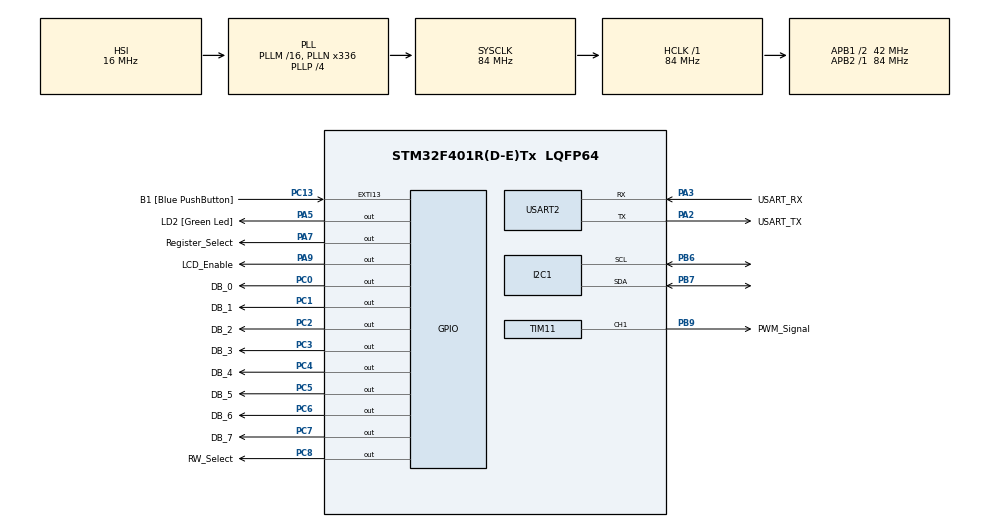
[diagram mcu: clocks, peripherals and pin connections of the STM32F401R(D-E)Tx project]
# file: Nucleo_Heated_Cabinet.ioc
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Mcu.Family=STM32F4
Mcu.Name=STM32F401R(D-E)Tx
Mcu.Package=LQFP64
NVIC.PriorityGroup=NVIC_PRIORITYGROUP_4
NVIC.TIM1_BRK_TIM9_IRQn=true\:1\:0\:true\:false\:true\:true\:true\:true
PA13.GPIO_Label=TMS
PA13.Mode=Trace_Asynchronous_SW
PA13.Signal=SYS_JTMS-SWDIO
PA14.GPIO_Label=TCK
PA14.Mode=Trace_Asynchronous_SW
PA14.Signal=SYS_JTCK-SWCLK
PA2.GPIO_Label=USART_TX
PA2.GPIO_Mode=GPIO_MODE_AF_PP
PA2.GPIO_PuPd=GPIO_NOPULL
PA2.GPIO_Speed=GPIO_SPEED_FREQ_LOW
PA2.Mode=Asynchronous
PA2.Signal=USART2_TX
PA3.GPIO_Label=USART_RX
PA3.GPIO_Mode=GPIO_MODE_AF_PP
PA3.GPIO_PuPd=GPIO_NOPULL
PA3.GPIO_Speed=GPIO_SPEED_FREQ_LOW
PA3.Mode=Asynchronous
PA3.Signal=USART2_RX
PA5.GPIO_Label=LD2 [Green Led]
PA5.GPIO_Mode=GPIO_MODE_OUTPUT_PP
PA5.GPIO_PuPd=GPIO_NOPULL
PA5.GPIO_Speed=GPIO_SPEED_FREQ_LOW
PA5.Signal=GPIO_Output
PA7.GPIO_Label=Register_Select
PA7.Signal=GPIO_Output
PA9.GPIO_Label=LCD_Enable
PA9.Signal=GPIO_Output
PB3.GPIO_Label=SWO
PB3.Mode=Trace_Asynchronous_SW
PB3.Signal=SYS_JTDO-SWO
PB6.Mode=I2C
PB6.Signal=I2C1_SCL
PB7.Mode=I2C
PB7.Signal=I2C1_SDA
PB9.GPIO_Label=PWM_Signal
PB9.Signal=S_TIM11_CH1
PC0.GPIO_Label=DB_0
PC0.Signal=GPIO_Output
PC1.GPIO_Label=DB_1
PC1.Signal=GPIO_Output
PC13-ANTI_TAMP.GPIO_Label=B1 [Blue PushButton]
PC13-ANTI_TAMP.GPIO_ModeDefaultEXTI=GPIO_MODE_IT_FALLING
PC13-ANTI_TAMP.GPIO_PuPd=GPIO_NOPULL
PC13-ANTI_TAMP.Signal=GPXTI13
PC14-OSC32_IN.Mode=LSE-External-Oscillator
PC14-OSC32_IN.Signal=RCC_OSC32_IN
PC15-OSC32_OUT.Mode=LSE-External-Oscillator
PC15-OSC32_OUT.Signal=RCC_OSC32_OUT
PC2.GPIO_Label=DB_2
PC2.Signal=GPIO_Output
PC3.GPIO_Label=DB_3
PC3.Signal=GPIO_Output
PC4.GPIO_Label=DB_4
PC4.Signal=GPIO_Output
PC5.GPIO_Label=DB_5
PC5.Signal=GPIO_Output
PC6.GPIO_Label=DB_6
PC6.Signal=GPIO_Output
PC7.GPIO_Label=DB_7
PC7.Signal=GPIO_Output
PC8.GPIO_Label=RW_Select
PC8.Signal=GPIO_Output
PH0\ -\ OSC_IN.Mode=HSE-External-Clock-Source
PH0\ -\ OSC_IN.Signal=RCC_OSC_IN
PH1\ -\ OSC_OUT.Mode=HSE-External-Clock-Source
PH1\ -\ OSC_OUT.Signal=RCC_OSC_OUT
ProjectManager.HeapSize=0x200
ProjectManager.StackSize=0x400
ProjectManager.TargetToolchain=STM32CubeIDE
RCC.48MHZClocksFreq_Value=48000000
RCC.AHBFreq_Value=84000000
RCC.APB1CLKDivider=RCC_HCLK_DIV2
RCC.APB1Freq_Value=42000000
RCC.APB1TimFreq_Value=84000000
RCC.APB2Freq_Value=84000000
RCC.APB2TimFreq_Value=84000000
RCC.CortexFreq_Value=84000000
RCC.HCLKFreq_Value=84000000
RCC.HSE_VALUE=8000000
RCC.HSI_VALUE=16000000
RCC.PLLN=336
RCC.PLLP=RCC_PLLP_DIV4
RCC.PLLQ=7
RCC.SYSCLKFreq_VALUE=84000000
RCC.SYSCLKSource=RCC_SYSCLKSOURCE_PLLCLK
RCC.VCOOutputFreq_Value=336000000
SH.S_TIM11_CH1.0=TIM11_CH1,PWM Generation1 CH1
TIM10.Prescaler=84 - 1
TIM11.Channel=TIM_CHANNEL_1
TIM11.Period=100 - 1
TIM11.Prescaler=42 - 1
TIM9.Period=1000 - 1
TIM9.Prescaler=8400 - 1
USART2.VirtualMode=VM_ASYNC
VP_TIM10_VS_ClockSourceINT.Mode=Enable_Timer
VP_TIM11_VS_ClockSourceINT.Mode=Enable_Timer
VP_TIM9_VS_ClockSourceINT.Mode=Internal
board=NUCLEO-F401RE

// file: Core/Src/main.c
/* USER CODE BEGIN Header */
/**
  ******************************************************************************
  * @file           : main.c
  * @brief          : Main program body
  ******************************************************************************
  * @attention
  *
  * Copyright (c) 2026 STMicroelectronics.
  * All rights reserved.
  *
  * This software is licensed under terms that can be found in the LICENSE file
  * in the root directory of this software component.
  * If no LICENSE file comes with this software, it is provided AS-IS.
  *
  ******************************************************************************
  */
/* USER CODE END Header */
#include "main.h"

I2C_HandleTypeDef hi2c1;

TIM_HandleTypeDef htim9;
TIM_HandleTypeDef htim10;
TIM_HandleTypeDef htim11;

UART_HandleTypeDef huart2;

/* USER CODE BEGIN PV */
// Setup Temp Sensor Registers:
uint8_t config_data[2] = {0b01100000, 0xFF};
float temp_value = 0.0f;
char temp_buffer[100] = {0};
char LCD_buffer[21] = {0};
volatile uint32_t timer_counter = 0;
/* USER CODE END PV */

void SystemClock_Config(void);
static void MX_GPIO_Init(void);
static void MX_USART2_UART_Init(void);
static void MX_I2C1_Init(void);
static void MX_TIM11_Init(void);
static void MX_TIM10_Init(void);
static void MX_TIM9_Init(void);

int main(void)
{

  /* MCU Configuration--------------------------------------------------------*/

  /* Reset of all peripherals, Initializes the Flash interface and the Systick. */
  HAL_Init();

  /* Configure the system clock */
  SystemClock_Config();

  /* Initialize all configured peripherals */
  MX_GPIO_Init();
  MX_USART2_UART_Init();
  MX_I2C1_Init();
  MX_TIM11_Init();
  MX_TIM10_Init();
  MX_TIM9_Init();
  /* USER CODE BEGIN 2 */
  HAL_TIM_Base_Start(&htim10);
  HAL_TIM_Base_Start_IT(&htim9);
  Init_Temp_Registers(config_data);
  HAL_TIM_PWM_Start(&htim11, TIM_CHANNEL_1);

  float Temp_Target = 73.0f;
  uint32_t PWM_Value = 0;

  // LCD setup

  Init_LCD();
//  Intro_Message();

  /* USER CODE END 2 */

  /* Infinite loop */
  while (1)
  {

    /* USER CODE BEGIN 3 */

	if(timer_counter >= 10)
	{
		temp_value = Get_Temp_Data();

		PWM_Value = Call_PI(Temp_Target, temp_value);

		sprintf(temp_buffer, "The temperature is: %.2f degrees F		PWM Value is: %d\r\n", temp_value, (int)PWM_Value);

		__HAL_TIM_SET_COMPARE(&htim11, TIM_CHANNEL_1, PWM_Value);

		// Write the temp and system status to the LCD ------------------------------

		Update_UI(PWM_Value, temp_value, Temp_Target);

		timer_counter = 0;
	}

	// --------------------------------------------------------------------------

//	HAL_UART_Transmit(&huart2, (uint8_t *)temp_buffer, strlen(temp_buffer), 100);
//
//	HAL_Delay(1000);

  }
  /* USER CODE END 3 */
}

void SystemClock_Config(void)
{
  RCC_OscInitTypeDef RCC_OscInitStruct = {0};
  RCC_ClkInitTypeDef RCC_ClkInitStruct = {0};

  /** Configure the main internal regulator output voltage
  */
  __HAL_RCC_PWR_CLK_ENABLE();
  __HAL_PWR_VOLTAGESCALING_CONFIG(PWR_REGULATOR_VOLTAGE_SCALE2);

  /** Initializes the RCC Oscillators according to the specified parameters
  * in the RCC_OscInitTypeDef structure.
  */
  RCC_OscInitStruct.OscillatorType = RCC_OSCILLATORTYPE_HSI;
  RCC_OscInitStruct.HSIState = RCC_HSI_ON;
  RCC_OscInitStruct.HSICalibrationValue = RCC_HSICALIBRATION_DEFAULT;
  RCC_OscInitStruct.PLL.PLLState = RCC_PLL_ON;
  RCC_OscInitStruct.PLL.PLLSource = RCC_PLLSOURCE_HSI;
  RCC_OscInitStruct.PLL.PLLM = 16;
  RCC_OscInitStruct.PLL.PLLN = 336;
  RCC_OscInitStruct.PLL.PLLP = RCC_PLLP_DIV4;
  RCC_OscInitStruct.PLL.PLLQ = 7;
  if (HAL_RCC_OscConfig(&RCC_OscInitStruct) != HAL_OK)
  {
    Error_Handler();
  }

  /** Initializes the CPU, AHB and APB buses clocks
  */
  RCC_ClkInitStruct.ClockType = RCC_CLOCKTYPE_HCLK|RCC_CLOCKTYPE_SYSCLK
                              |RCC_CLOCKTYPE_PCLK1|RCC_CLOCKTYPE_PCLK2;
  RCC_ClkInitStruct.SYSCLKSource = RCC_SYSCLKSOURCE_PLLCLK;
  RCC_ClkInitStruct.AHBCLKDivider = RCC_SYSCLK_DIV1;
  RCC_ClkInitStruct.APB1CLKDivider = RCC_HCLK_DIV2;
  RCC_ClkInitStruct.APB2CLKDivider = RCC_HCLK_DIV1;

  if (HAL_RCC_ClockConfig(&RCC_ClkInitStruct, FLASH_LATENCY_2) != HAL_OK)
  {
    Error_Handler();
  }
}

static void MX_I2C1_Init(void)
{

  hi2c1.Instance = I2C1;
  hi2c1.Init.ClockSpeed = 100000;
  hi2c1.Init.DutyCycle = I2C_DUTYCYCLE_2;
  hi2c1.Init.OwnAddress1 = 0;
  hi2c1.Init.AddressingMode = I2C_ADDRESSINGMODE_7BIT;
  hi2c1.Init.DualAddressMode = I2C_DUALADDRESS_DISABLE;
  hi2c1.Init.OwnAddress2 = 0;
  hi2c1.Init.GeneralCallMode = I2C_GENERALCALL_DISABLE;
  hi2c1.Init.NoStretchMode = I2C_NOSTRETCH_DISABLE;
  if (HAL_I2C_Init(&hi2c1) != HAL_OK)
  {
    Error_Handler();
  }

}

static void MX_TIM9_Init(void)
{

  TIM_ClockConfigTypeDef sClockSourceConfig = {0};

  htim9.Instance = TIM9;
  htim9.Init.Prescaler = 8400 - 1;
  htim9.Init.CounterMode = TIM_COUNTERMODE_UP;
  htim9.Init.Period = 1000 - 1;
  htim9.Init.ClockDivision = TIM_CLOCKDIVISION_DIV1;
  htim9.Init.AutoReloadPreload = TIM_AUTORELOAD_PRELOAD_DISABLE;
  if (HAL_TIM_Base_Init(&htim9) != HAL_OK)
  {
    Error_Handler();
  }
  sClockSourceConfig.ClockSource = TIM_CLOCKSOURCE_INTERNAL;
  if (HAL_TIM_ConfigClockSource(&htim9, &sClockSourceConfig) != HAL_OK)
  {
    Error_Handler();
  }

}

static void MX_TIM10_Init(void)
{

  htim10.Instance = TIM10;
  htim10.Init.Prescaler = 84 - 1;
  htim10.Init.CounterMode = TIM_COUNTERMODE_UP;
  htim10.Init.Period = 65535;
  htim10.Init.ClockDivision = TIM_CLOCKDIVISION_DIV1;
  htim10.Init.AutoReloadPreload = TIM_AUTORELOAD_PRELOAD_DISABLE;
  if (HAL_TIM_Base_Init(&htim10) != HAL_OK)
  {
    Error_Handler();
  }

}

static void MX_TIM11_Init(void)
{

  TIM_OC_InitTypeDef sConfigOC = {0};

  htim11.Instance = TIM11;
  htim11.Init.Prescaler = 42 - 1;
  htim11.Init.CounterMode = TIM_COUNTERMODE_UP;
  htim11.Init.Period = 100 - 1;
  htim11.Init.ClockDivision = TIM_CLOCKDIVISION_DIV1;
  htim11.Init.AutoReloadPreload = TIM_AUTORELOAD_PRELOAD_DISABLE;
  if (HAL_TIM_Base_Init(&htim11) != HAL_OK)
  {
    Error_Handler();
  }
  if (HAL_TIM_PWM_Init(&htim11) != HAL_OK)
  {
    Error_Handler();
  }
  sConfigOC.OCMode = TIM_OCMODE_PWM1;
  sConfigOC.Pulse = 0;
  sConfigOC.OCPolarity = TIM_OCPOLARITY_HIGH;
  sConfigOC.OCFastMode = TIM_OCFAST_DISABLE;
  if (HAL_TIM_PWM_ConfigChannel(&htim11, &sConfigOC, TIM_CHANNEL_1) != HAL_OK)
  {
    Error_Handler();
  }
  HAL_TIM_MspPostInit(&htim11);

}

static void MX_USART2_UART_Init(void)
{

  huart2.Instance = USART2;
  huart2.Init.BaudRate = 115200;
  huart2.Init.WordLength = UART_WORDLENGTH_8B;
  huart2.Init.StopBits = UART_STOPBITS_1;
  huart2.Init.Parity = UART_PARITY_NONE;
  huart2.Init.Mode = UART_MODE_TX_RX;
  huart2.Init.HwFlowCtl = UART_HWCONTROL_NONE;
  huart2.Init.OverSampling = UART_OVERSAMPLING_16;
  if (HAL_UART_Init(&huart2) != HAL_OK)
  {
    Error_Handler();
  }

}

static void MX_GPIO_Init(void)
{
  GPIO_InitTypeDef GPIO_InitStruct = {0};

  /* GPIO Ports Clock Enable */
  __HAL_RCC_GPIOC_CLK_ENABLE();
  __HAL_RCC_GPIOH_CLK_ENABLE();
  __HAL_RCC_GPIOA_CLK_ENABLE();
  __HAL_RCC_GPIOB_CLK_ENABLE();

  /*Configure GPIO pin Output Level */
  HAL_GPIO_WritePin(GPIOC, DB_0_Pin|DB_1_Pin|DB_2_Pin|DB_3_Pin
                          |DB_4_Pin|DB_5_Pin|DB_6_Pin|DB_7_Pin
                          |RW_Select_Pin, GPIO_PIN_RESET);

  /*Configure GPIO pin Output Level */
  HAL_GPIO_WritePin(GPIOA, LD2_Pin|Register_Select_Pin|LCD_Enable_Pin, GPIO_PIN_RESET);

  /*Configure GPIO pin : B1_Pin */
  GPIO_InitStruct.Pin = B1_Pin;
  GPIO_InitStruct.Mode = GPIO_MODE_IT_FALLING;
  GPIO_InitStruct.Pull = GPIO_NOPULL;
  HAL_GPIO_Init(B1_GPIO_Port, &GPIO_InitStruct);

  /*Configure GPIO pins : DB_0_Pin DB_1_Pin DB_2_Pin DB_3_Pin
                           DB_4_Pin DB_5_Pin DB_6_Pin DB_7_Pin
                           RW_Select_Pin */
  GPIO_InitStruct.Pin = DB_0_Pin|DB_1_Pin|DB_2_Pin|DB_3_Pin
                          |DB_4_Pin|DB_5_Pin|DB_6_Pin|DB_7_Pin
                          |RW_Select_Pin;
  GPIO_InitStruct.Mode = GPIO_MODE_OUTPUT_PP;
  GPIO_InitStruct.Pull = GPIO_NOPULL;
  GPIO_InitStruct.Speed = GPIO_SPEED_FREQ_LOW;
  HAL_GPIO_Init(GPIOC, &GPIO_InitStruct);

  /*Configure GPIO pins : LD2_Pin Register_Select_Pin LCD_Enable_Pin */
  GPIO_InitStruct.Pin = LD2_Pin|Register_Select_Pin|LCD_Enable_Pin;
  GPIO_InitStruct.Mode = GPIO_MODE_OUTPUT_PP;
  GPIO_InitStruct.Pull = GPIO_NOPULL;
  GPIO_InitStruct.Speed = GPIO_SPEED_FREQ_LOW;
  HAL_GPIO_Init(GPIOA, &GPIO_InitStruct);

}

/* USER CODE BEGIN 4 */
void HAL_TIM_PeriodElapsedCallback(TIM_HandleTypeDef *htim)
{
	if (htim->Instance == TIM9)
	    {
	        timer_counter++;
	    }
}
/* USER CODE END 4 */

void Error_Handler(void)
{
  __disable_irq();
  while (1)
  {
  }
}
